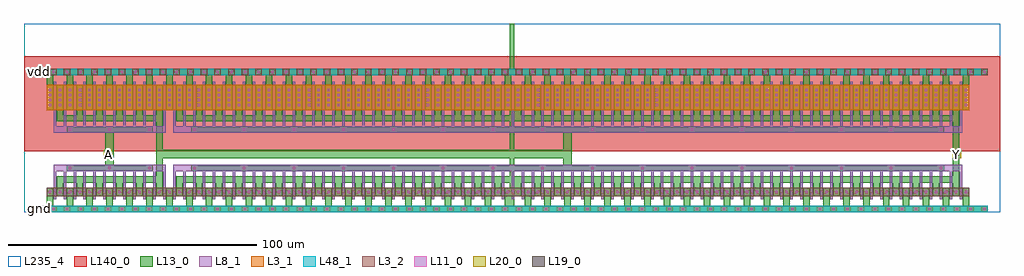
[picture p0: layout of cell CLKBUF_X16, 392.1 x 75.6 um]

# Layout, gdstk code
import gdstk
lib = gdstk.Library(unit=1e-6, precision=1e-09)
def R(c, l, rs):  # rectangles x0, y0, x1, y1
    for r in rs: c.add(gdstk.rectangle(r[:2], r[2:], *l))
def A(c, l, x, y, w, h, nx, ny, dx, dy):  # array of equal rectangles
    R(c, l, [(x+i*dx, y+j*dy, x+i*dx+w, y+j*dy+h) for i in range(nx) for j in range(ny)])
def P(c, l, *ps):  # polygons
    for p in ps: c.add(gdstk.Polygon(p, *l))
L3_1 = (3, 1)
L3_2 = (3, 2)
L8_1 = (8, 1)
L11_0 = (11, 0)
L13_0 = (13, 0)
L19_0 = (19, 0)
L20_0 = (20, 0)
L48_1 = (48, 1)
L140_0 = (140, 0)
L235_4 = (235, 4)

clkbuf_x16 = lib.new_cell('CLKBUF_X16')
A(clkbuf_x16, L3_1, 5, 0, 2.6, 2.6, 70, 1, 5.5, 0)
R(clkbuf_x16, L3_1, [(9.1,41,379.7,51.2)])
A(clkbuf_x16, L3_2, 5, 55, 2.6, 2.6, 70, 1, 5.5, 0)
R(clkbuf_x16, L3_2, [(9.1,6.4,379.7,9.8)])
P(clkbuf_x16, L8_1, [(11.9,5.2),(11.9,19),(56.9,19),(56.9,5.2),(55.9,5.2),(55.9,16.4),(52.9,16.4),(52.9,5.2),(51.9,5.2),(51.9,16.4),(48.9,16.4),(48.9,5.2),(47.9,5.2),(47.9,16.4),(44.9,16.4),(44.9,5.2),(43.9,5.2),(43.9,16.4),(40.9,16.4),(40.9,5.2),(39.9,5.2),(39.9,16.4),(36.9,16.4),(36.9,5.2),(35.9,5.2),(35.9,16.4),(32.9,16.4),(32.9,5.2),(31.9,5.2),(31.9,16.4),(28.9,16.4),(28.9,5.2),(27.9,5.2),(27.9,16.4),(24.9,16.4),(24.9,5.2),(23.9,5.2),(23.9,16.4),(20.9,16.4),(20.9,5.2),(19.9,5.2),(19.9,16.4),(16.9,16.4),(16.9,5.2),(15.9,5.2),(15.9,16.4),(12.9,16.4),(12.9,5.2)],
  [(59.9,5.2),(59.9,19),(376.9,19),(376.9,5.2),(375.9,5.2),(375.9,16.4),(372.9,16.4),(372.9,5.2),(371.9,5.2),(371.9,16.4),(368.9,16.4),(368.9,5.2),(367.9,5.2),(367.9,16.4),(364.9,16.4),(364.9,5.2),(363.9,5.2),(363.9,16.4),(360.9,16.4),(360.9,5.2),(359.9,5.2),(359.9,16.4),(356.9,16.4),(356.9,5.2),(355.9,5.2),(355.9,16.4),(352.9,16.4),(352.9,5.2),(351.9,5.2),(351.9,16.4),(348.9,16.4),(348.9,5.2),(347.9,5.2),(347.9,16.4),(344.9,16.4),(344.9,5.2),(343.9,5.2),(343.9,16.4),(340.9,16.4),(340.9,5.2),(339.9,5.2),(339.9,16.4),(336.9,16.4),(336.9,5.2),(335.9,5.2),(335.9,16.4),(332.9,16.4),(332.9,5.2),(331.9,5.2),(331.9,16.4),(328.9,16.4),(328.9,5.2),(327.9,5.2),(327.9,16.4),(324.9,16.4),(324.9,5.2),(323.9,5.2),(323.9,16.4),(320.9,16.4),(320.9,5.2),(319.9,5.2),(319.9,16.4),(316.9,16.4),(316.9,5.2),(315.9,5.2),(315.9,16.4),(312.9,16.4),(312.9,5.2),(311.9,5.2),(311.9,16.4),(308.9,16.4),(308.9,5.2),(307.9,5.2),(307.9,16.4),(304.9,16.4),(304.9,5.2),(303.9,5.2),(303.9,16.4),(300.9,16.4),(300.9,5.2),(299.9,5.2),(299.9,16.4),(296.9,16.4),(296.9,5.2),(295.9,5.2),(295.9,16.4),(292.9,16.4),(292.9,5.2),(291.9,5.2),(291.9,16.4),(288.9,16.4),(288.9,5.2),(287.9,5.2),(287.9,16.4),(284.9,16.4),(284.9,5.2),(283.9,5.2),(283.9,16.4),(280.9,16.4),(280.9,5.2),(279.9,5.2),(279.9,16.4),(276.9,16.4),(276.9,5.2),(275.9,5.2),(275.9,16.4),(272.9,16.4),(272.9,5.2),(271.9,5.2),(271.9,16.4),(268.9,16.4),(268.9,5.2),(267.9,5.2),(267.9,16.4),(264.9,16.4),(264.9,5.2),(263.9,5.2),(263.9,16.4),(260.9,16.4),(260.9,5.2),(259.9,5.2),(259.9,16.4),(256.9,16.4),(256.9,5.2),(255.9,5.2),(255.9,16.4),(252.9,16.4),(252.9,5.2),(251.9,5.2),(251.9,16.4),(248.9,16.4),(248.9,5.2),(247.9,5.2),(247.9,16.4),(244.9,16.4),(244.9,5.2),(243.9,5.2),(243.9,16.4),(240.9,16.4),(240.9,5.2),(239.9,5.2),(239.9,16.4),(236.9,16.4),(236.9,5.2),(235.9,5.2),(235.9,16.4),(232.9,16.4),(232.9,5.2),(231.9,5.2),(231.9,16.4),(228.9,16.4),(228.9,5.2),(227.9,5.2),(227.9,16.4),(224.9,16.4),(224.9,5.2),(223.9,5.2),(223.9,16.4),(220.9,16.4),(220.9,5.2),(219.9,5.2),(219.9,16.4),(216.9,16.4),(216.9,5.2),(215.9,5.2),(215.9,16.4),(212.9,16.4),(212.9,5.2),(211.9,5.2),(211.9,16.4),(208.9,16.4),(208.9,5.2),(207.9,5.2),(207.9,16.4),(204.9,16.4),(204.9,5.2),(203.9,5.2),(203.9,16.4),(200.9,16.4),(200.9,5.2),(199.9,5.2),(199.9,16.4),(196.9,16.4),(196.9,5.2),(195.9,5.2),(195.9,16.4),(192.9,16.4),(192.9,5.2),(191.9,5.2),(191.9,16.4),(188.9,16.4),(188.9,5.2),(187.9,5.2),(187.9,16.4),(184.9,16.4),(184.9,5.2),(183.9,5.2),(183.9,16.4),(180.9,16.4),(180.9,5.2),(179.9,5.2),(179.9,16.4),(176.9,16.4),(176.9,5.2),(175.9,5.2),(175.9,16.4),(172.9,16.4),(172.9,5.2),(171.9,5.2),(171.9,16.4),(168.9,16.4),(168.9,5.2),(167.9,5.2),(167.9,16.4),(164.9,16.4),(164.9,5.2),(163.9,5.2),(163.9,16.4),(160.9,16.4),(160.9,5.2),(159.9,5.2),(159.9,16.4),(156.9,16.4),(156.9,5.2),(155.9,5.2),(155.9,16.4),(152.9,16.4),(152.9,5.2),(151.9,5.2),(151.9,16.4),(148.9,16.4),(148.9,5.2),(147.9,5.2),(147.9,16.4),(144.9,16.4),(144.9,5.2),(143.9,5.2),(143.9,16.4),(140.9,16.4),(140.9,5.2),(139.9,5.2),(139.9,16.4),(136.9,16.4),(136.9,5.2),(135.9,5.2),(135.9,16.4),(132.9,16.4),(132.9,5.2),(131.9,5.2),(131.9,16.4),(128.9,16.4),(128.9,5.2),(127.9,5.2),(127.9,16.4),(124.9,16.4),(124.9,5.2),(123.9,5.2),(123.9,16.4),(120.9,16.4),(120.9,5.2),(119.9,5.2),(119.9,16.4),(116.9,16.4),(116.9,5.2),(115.9,5.2),(115.9,16.4),(112.9,16.4),(112.9,5.2),(111.9,5.2),(111.9,16.4),(108.9,16.4),(108.9,5.2),(107.9,5.2),(107.9,16.4),(104.9,16.4),(104.9,5.2),(103.9,5.2),(103.9,16.4),(100.9,16.4),(100.9,5.2),(99.9,5.2),(99.9,16.4),(96.9,16.4),(96.9,5.2),(95.9,5.2),(95.9,16.4),(92.9,16.4),(92.9,5.2),(91.9,5.2),(91.9,16.4),(88.9,16.4),(88.9,5.2),(87.9,5.2),(87.9,16.4),(84.9,16.4),(84.9,5.2),(83.9,5.2),(83.9,16.4),(80.9,16.4),(80.9,5.2),(79.9,5.2),(79.9,16.4),(76.9,16.4),(76.9,5.2),(75.9,5.2),(75.9,16.4),(72.9,16.4),(72.9,5.2),(71.9,5.2),(71.9,16.4),(68.9,16.4),(68.9,5.2),(67.9,5.2),(67.9,16.4),(64.9,16.4),(64.9,5.2),(63.9,5.2),(63.9,16.4),(60.9,16.4),(60.9,5.2)],
  [(59.9,31.8),(59.9,52.4),(60.9,52.4),(60.9,34.4),(63.9,34.4),(63.9,52.4),(64.9,52.4),(64.9,34.4),(67.9,34.4),(67.9,52.4),(68.9,52.4),(68.9,34.4),(71.9,34.4),(71.9,52.4),(72.9,52.4),(72.9,34.4),(75.9,34.4),(75.9,52.4),(76.9,52.4),(76.9,34.4),(79.9,34.4),(79.9,52.4),(80.9,52.4),(80.9,34.4),(83.9,34.4),(83.9,52.4),(84.9,52.4),(84.9,34.4),(87.9,34.4),(87.9,52.4),(88.9,52.4),(88.9,34.4),(91.9,34.4),(91.9,52.4),(92.9,52.4),(92.9,34.4),(95.9,34.4),(95.9,52.4),(96.9,52.4),(96.9,34.4),(99.9,34.4),(99.9,52.4),(100.9,52.4),(100.9,34.4),(103.9,34.4),(103.9,52.4),(104.9,52.4),(104.9,34.4),(107.9,34.4),(107.9,52.4),(108.9,52.4),(108.9,34.4),(111.9,34.4),(111.9,52.4),(112.9,52.4),(112.9,34.4),(115.9,34.4),(115.9,52.4),(116.9,52.4),(116.9,34.4),(119.9,34.4),(119.9,52.4),(120.9,52.4),(120.9,34.4),(123.9,34.4),(123.9,52.4),(124.9,52.4),(124.9,34.4),(127.9,34.4),(127.9,52.4),(128.9,52.4),(128.9,34.4),(131.9,34.4),(131.9,52.4),(132.9,52.4),(132.9,34.4),(135.9,34.4),(135.9,52.4),(136.9,52.4),(136.9,34.4),(139.9,34.4),(139.9,52.4),(140.9,52.4),(140.9,34.4),(143.9,34.4),(143.9,52.4),(144.9,52.4),(144.9,34.4),(147.9,34.4),(147.9,52.4),(148.9,52.4),(148.9,34.4),(151.9,34.4),(151.9,52.4),(152.9,52.4),(152.9,34.4),(155.9,34.4),(155.9,52.4),(156.9,52.4),(156.9,34.4),(159.9,34.4),(159.9,52.4),(160.9,52.4),(160.9,34.4),(163.9,34.4),(163.9,52.4),(164.9,52.4),(164.9,34.4),(167.9,34.4),(167.9,52.4),(168.9,52.4),(168.9,34.4),(171.9,34.4),(171.9,52.4),(172.9,52.4),(172.9,34.4),(175.9,34.4),(175.9,52.4),(176.9,52.4),(176.9,34.4),(179.9,34.4),(179.9,52.4),(180.9,52.4),(180.9,34.4),(183.9,34.4),(183.9,52.4),(184.9,52.4),(184.9,34.4),(187.9,34.4),(187.9,52.4),(188.9,52.4),(188.9,34.4),(191.9,34.4),(191.9,52.4),(192.9,52.4),(192.9,34.4),(195.9,34.4),(195.9,52.4),(196.9,52.4),(196.9,34.4),(199.9,34.4),(199.9,52.4),(200.9,52.4),(200.9,34.4),(203.9,34.4),(203.9,52.4),(204.9,52.4),(204.9,34.4),(207.9,34.4),(207.9,52.4),(208.9,52.4),(208.9,34.4),(211.9,34.4),(211.9,52.4),(212.9,52.4),(212.9,34.4),(215.9,34.4),(215.9,52.4),(216.9,52.4),(216.9,34.4),(219.9,34.4),(219.9,52.4),(220.9,52.4),(220.9,34.4),(223.9,34.4),(223.9,52.4),(224.9,52.4),(224.9,34.4),(227.9,34.4),(227.9,52.4),(228.9,52.4),(228.9,34.4),(231.9,34.4),(231.9,52.4),(232.9,52.4),(232.9,34.4),(235.9,34.4),(235.9,52.4),(236.9,52.4),(236.9,34.4),(239.9,34.4),(239.9,52.4),(240.9,52.4),(240.9,34.4),(243.9,34.4),(243.9,52.4),(244.9,52.4),(244.9,34.4),(247.9,34.4),(247.9,52.4),(248.9,52.4),(248.9,34.4),(251.9,34.4),(251.9,52.4),(252.9,52.4),(252.9,34.4),(255.9,34.4),(255.9,52.4),(256.9,52.4),(256.9,34.4),(259.9,34.4),(259.9,52.4),(260.9,52.4),(260.9,34.4),(263.9,34.4),(263.9,52.4),(264.9,52.4),(264.9,34.4),(267.9,34.4),(267.9,52.4),(268.9,52.4),(268.9,34.4),(271.9,34.4),(271.9,52.4),(272.9,52.4),(272.9,34.4),(275.9,34.4),(275.9,52.4),(276.9,52.4),(276.9,34.4),(279.9,34.4),(279.9,52.4),(280.9,52.4),(280.9,34.4),(283.9,34.4),(283.9,52.4),(284.9,52.4),(284.9,34.4),(287.9,34.4),(287.9,52.4),(288.9,52.4),(288.9,34.4),(291.9,34.4),(291.9,52.4),(292.9,52.4),(292.9,34.4),(295.9,34.4),(295.9,52.4),(296.9,52.4),(296.9,34.4),(299.9,34.4),(299.9,52.4),(300.9,52.4),(300.9,34.4),(303.9,34.4),(303.9,52.4),(304.9,52.4),(304.9,34.4),(307.9,34.4),(307.9,52.4),(308.9,52.4),(308.9,34.4),(311.9,34.4),(311.9,52.4),(312.9,52.4),(312.9,34.4),(315.9,34.4),(315.9,52.4),(316.9,52.4),(316.9,34.4),(319.9,34.4),(319.9,52.4),(320.9,52.4),(320.9,34.4),(323.9,34.4),(323.9,52.4),(324.9,52.4),(324.9,34.4),(327.9,34.4),(327.9,52.4),(328.9,52.4),(328.9,34.4),(331.9,34.4),(331.9,52.4),(332.9,52.4),(332.9,34.4),(335.9,34.4),(335.9,52.4),(336.9,52.4),(336.9,34.4),(339.9,34.4),(339.9,52.4),(340.9,52.4),(340.9,34.4),(343.9,34.4),(343.9,52.4),(344.9,52.4),(344.9,34.4),(347.9,34.4),(347.9,52.4),(348.9,52.4),(348.9,34.4),(351.9,34.4),(351.9,52.4),(352.9,52.4),(352.9,34.4),(355.9,34.4),(355.9,52.4),(356.9,52.4),(356.9,34.4),(359.9,34.4),(359.9,52.4),(360.9,52.4),(360.9,34.4),(363.9,34.4),(363.9,52.4),(364.9,52.4),(364.9,34.4),(367.9,34.4),(367.9,52.4),(368.9,52.4),(368.9,34.4),(371.9,34.4),(371.9,52.4),(372.9,52.4),(372.9,34.4),(375.9,34.4),(375.9,52.4),(376.9,52.4),(376.9,31.8)],
  [(11.9,31.8),(11.9,52.4),(12.9,52.4),(12.9,34.4),(15.9,34.4),(15.9,52.4),(16.9,52.4),(16.9,34.4),(19.9,34.4),(19.9,52.4),(20.9,52.4),(20.9,34.4),(23.9,34.4),(23.9,52.4),(24.9,52.4),(24.9,34.4),(27.9,34.4),(27.9,52.4),(28.9,52.4),(28.9,34.4),(31.9,34.4),(31.9,52.4),(32.9,52.4),(32.9,34.4),(35.9,34.4),(35.9,52.4),(36.9,52.4),(36.9,34.4),(39.9,34.4),(39.9,52.4),(40.9,52.4),(40.9,34.4),(43.9,34.4),(43.9,52.4),(44.9,52.4),(44.9,34.4),(47.9,34.4),(47.9,52.4),(48.9,52.4),(48.9,34.4),(51.9,34.4),(51.9,52.4),(52.9,52.4),(52.9,34.4),(55.9,34.4),(55.9,52.4),(56.9,52.4),(56.9,31.8)])
A(clkbuf_x16, L11_0, 5.8, 0.8, 1, 1, 70, 2, 5.5, 55)
A(clkbuf_x16, L11_0, 9.9, 7.6, 1, 1, 13, 2, 4, 35)
A(clkbuf_x16, L11_0, 57.9, 7.6, 1, 1, 81, 2, 4, 35)
A(clkbuf_x16, L11_0, 17.9, 17.2, 1, 1, 3, 2, 16, 15.4)
A(clkbuf_x16, L11_0, 67.9, 17.2, 1, 1, 16, 2, 20, 15.4)
A(clkbuf_x16, L11_0, 57.9, 42.6, 1, 1, 1, 4, 0, 2)
A(clkbuf_x16, L11_0, 377.9, 42.6, 1, 1, 1, 4, 0, 2)
A(clkbuf_x16, L11_0, 9.9, 44.6, 1, 1, 13, 3, 4, 2)
A(clkbuf_x16, L11_0, 57.9, 44.6, 1, 1, 81, 3, 4, 2)
P(clkbuf_x16, L13_0, [(17.1,16.4),(17.1,19),(19.7,19),(19.7,18.7),(32.7,18.7),(32.7,21.6),(32.1,21.6),(32.1,25),(32.7,25),(32.7,32.1),(19.7,32.1),(19.7,31.8),(17.1,31.8),(17.1,34.4),(19.7,34.4),(19.7,34.1),(33.1,34.1),(33.1,34.4),(35.7,34.4),(35.7,34.1),(49.1,34.1),(49.1,34.4),(51.7,34.4),(51.7,31.8),(49.1,31.8),(49.1,32.1),(36.1,32.1),(36.1,18.7),(49.1,18.7),(49.1,19),(51.7,19),(51.7,16.4),(49.1,16.4),(49.1,16.7),(35.7,16.7),(35.7,16.4),(33.1,16.4),(33.1,16.7),(19.7,16.7),(19.7,16.4)],
  [(5,0),(5,2.6),(9.1,2.6),(9.1,9.8),(11.7,9.8),(11.7,2.6),(17.1,2.6),(17.1,9.8),(19.7,9.8),(19.7,2.6),(25.1,2.6),(25.1,9.8),(27.7,9.8),(27.7,2.6),(33.1,2.6),(33.1,9.8),(35.7,9.8),(35.7,2.6),(41.1,2.6),(41.1,9.8),(43.7,9.8),(43.7,2.6),(49.1,2.6),(49.1,9.8),(51.7,9.8),(51.7,2.6),(57.1,2.6),(57.1,9.8),(59.7,9.8),(59.7,2.6),(65.1,2.6),(65.1,9.8),(67.7,9.8),(67.7,2.6),(73.1,2.6),(73.1,9.8),(75.7,9.8),(75.7,2.6),(81.1,2.6),(81.1,9.8),(83.7,9.8),(83.7,2.6),(89.1,2.6),(89.1,9.8),(91.7,9.8),(91.7,2.6),(97.1,2.6),(97.1,9.8),(99.7,9.8),(99.7,2.6),(105.1,2.6),(105.1,9.8),(107.7,9.8),(107.7,2.6),(113.1,2.6),(113.1,9.8),(115.7,9.8),(115.7,2.6),(121.1,2.6),(121.1,9.8),(123.7,9.8),(123.7,2.6),(129.1,2.6),(129.1,9.8),(131.7,9.8),(131.7,2.6),(137.1,2.6),(137.1,9.8),(139.7,9.8),(139.7,2.6),(145.1,2.6),(145.1,9.8),(147.7,9.8),(147.7,2.6),(153.1,2.6),(153.1,9.8),(155.7,9.8),(155.7,2.6),(161.1,2.6),(161.1,9.8),(163.7,9.8),(163.7,2.6),(169.1,2.6),(169.1,9.8),(171.7,9.8),(171.7,2.6),(177.1,2.6),(177.1,9.8),(179.7,9.8),(179.7,2.6),(185.1,2.6),(185.1,9.8),(187.7,9.8),(187.7,2.6),(193.1,2.6),(193.1,9.8),(195.15,9.8),(195.15,11.8),(191.7,11.8),(191.7,6.4),(189.1,6.4),(189.1,11.8),(183.7,11.8),(183.7,6.4),(181.1,6.4),(181.1,11.8),(175.7,11.8),(175.7,6.4),(173.1,6.4),(173.1,11.8),(167.7,11.8),(167.7,6.4),(165.1,6.4),(165.1,11.8),(159.7,11.8),(159.7,6.4),(157.1,6.4),(157.1,11.8),(151.7,11.8),(151.7,6.4),(149.1,6.4),(149.1,11.8),(143.7,11.8),(143.7,6.4),(141.1,6.4),(141.1,11.8),(135.7,11.8),(135.7,6.4),(133.1,6.4),(133.1,11.8),(127.7,11.8),(127.7,6.4),(125.1,6.4),(125.1,11.8),(119.7,11.8),(119.7,6.4),(117.1,6.4),(117.1,11.8),(111.7,11.8),(111.7,6.4),(109.1,6.4),(109.1,11.8),(103.7,11.8),(103.7,6.4),(101.1,6.4),(101.1,11.8),(95.7,11.8),(95.7,6.4),(93.1,6.4),(93.1,11.8),(87.7,11.8),(87.7,6.4),(85.1,6.4),(85.1,11.8),(79.7,11.8),(79.7,6.4),(77.1,6.4),(77.1,11.8),(71.7,11.8),(71.7,6.4),(69.1,6.4),(69.1,11.8),(63.7,11.8),(63.7,6.4),(61.1,6.4),(61.1,14.4),(195.15,14.4),(195.15,16.7),(189.7,16.7),(189.7,16.4),(187.1,16.4),(187.1,16.7),(169.7,16.7),(169.7,16.4),(167.1,16.4),(167.1,16.7),(149.7,16.7),(149.7,16.4),(147.1,16.4),(147.1,16.7),(129.7,16.7),(129.7,16.4),(127.1,16.4),(127.1,16.7),(109.7,16.7),(109.7,16.4),(107.1,16.4),(107.1,16.7),(89.7,16.7),(89.7,16.4),(87.1,16.4),(87.1,16.7),(69.7,16.7),(69.7,16.4),(67.1,16.4),(67.1,19),(69.7,19),(69.7,18.7),(87.1,18.7),(87.1,19),(89.7,19),(89.7,18.7),(107.1,18.7),(107.1,19),(109.7,19),(109.7,18.7),(127.1,18.7),(127.1,19),(129.7,19),(129.7,18.7),(147.1,18.7),(147.1,19),(149.7,19),(149.7,18.7),(167.1,18.7),(167.1,19),(169.7,19),(169.7,18.7),(187.1,18.7),(187.1,19),(189.7,19),(189.7,18.7),(195.15,18.7),(195.15,21.6),(55.7,21.6),(55.7,6.4),(53.1,6.4),(53.1,11.8),(47.7,11.8),(47.7,6.4),(45.1,6.4),(45.1,11.8),(39.7,11.8),(39.7,6.4),(37.1,6.4),(37.1,11.8),(31.7,11.8),(31.7,6.4),(29.1,6.4),(29.1,11.8),(23.7,11.8),(23.7,6.4),(21.1,6.4),(21.1,11.8),(15.7,11.8),(15.7,6.4),(13.1,6.4),(13.1,14.4),(53.1,14.4),(53.1,21.6),(196.95,21.6),(196.95,18.7),(207.1,18.7),(207.1,19),(209.7,19),(209.7,18.7),(216.7,18.7),(216.7,21.6),(53.1,21.6),(53.1,36.4),(13.1,36.4),(13.1,51.2),(15.7,51.2),(15.7,39),(21.1,39),(21.1,51.2),(23.7,51.2),(23.7,39),(29.1,39),(29.1,51.2),(31.7,51.2),(31.7,39),(37.1,39),(37.1,51.2),(39.7,51.2),(39.7,39),(45.1,39),(45.1,51.2),(47.7,51.2),(47.7,39),(53.1,39),(53.1,51.2),(55.7,51.2),(55.7,25),(195.15,25),(195.15,32.1),(189.7,32.1),(189.7,31.8),(187.1,31.8),(187.1,32.1),(169.7,32.1),(169.7,31.8),(167.1,31.8),(167.1,32.1),(149.7,32.1),(149.7,31.8),(147.1,31.8),(147.1,32.1),(129.7,32.1),(129.7,31.8),(127.1,31.8),(127.1,32.1),(109.7,32.1),(109.7,31.8),(107.1,31.8),(107.1,32.1),(89.7,32.1),(89.7,31.8),(87.1,31.8),(87.1,32.1),(69.7,32.1),(69.7,31.8),(67.1,31.8),(67.1,32.1),(209.7,32.1),(209.7,31.8),(207.1,31.8),(207.1,32.1),(196.95,32.1),(196.95,25),(216.7,25),(216.7,32.1),(67.1,32.1),(67.1,34.4),(69.7,34.4),(69.7,34.1),(87.1,34.1),(87.1,34.4),(89.7,34.4),(89.7,34.1),(107.1,34.1),(107.1,34.4),(109.7,34.4),(109.7,34.1),(127.1,34.1),(127.1,34.4),(129.7,34.4),(129.7,34.1),(147.1,34.1),(147.1,34.4),(149.7,34.4),(149.7,34.1),(167.1,34.1),(167.1,34.4),(169.7,34.4),(169.7,34.1),(187.1,34.1),(187.1,34.4),(189.7,34.4),(189.7,34.1),(195.15,34.1),(195.15,36.4),(196.95,36.4),(196.95,34.1),(207.1,34.1),(207.1,34.4),(209.7,34.4),(209.7,34.1),(227.1,34.1),(227.1,34.4),(229.7,34.4),(229.7,34.1),(247.1,34.1),(247.1,34.4),(249.7,34.4),(249.7,34.1),(267.1,34.1),(267.1,34.4),(269.7,34.4),(269.7,34.1),(287.1,34.1),(287.1,34.4),(289.7,34.4),(289.7,34.1),(307.1,34.1),(307.1,34.4),(309.7,34.4),(309.7,34.1),(327.1,34.1),(327.1,34.4),(329.7,34.4),(329.7,34.1),(347.1,34.1),(347.1,34.4),(349.7,34.4),(349.7,34.1),(367.1,34.1),(367.1,34.4),(369.7,34.4),(369.7,31.8),(367.1,31.8),(367.1,32.1),(349.7,32.1),(349.7,31.8),(347.1,31.8),(347.1,32.1),(329.7,32.1),(329.7,31.8),(327.1,31.8),(327.1,32.1),(309.7,32.1),(309.7,31.8),(307.1,31.8),(307.1,32.1),(289.7,32.1),(289.7,31.8),(287.1,31.8),(287.1,32.1),(269.7,32.1),(269.7,31.8),(267.1,31.8),(267.1,32.1),(249.7,32.1),(249.7,31.8),(247.1,31.8),(247.1,32.1),(229.7,32.1),(229.7,31.8),(227.1,31.8),(227.1,32.1),(220.1,32.1),(220.1,18.7),(227.1,18.7),(227.1,19),(229.7,19),(229.7,18.7),(247.1,18.7),(247.1,19),(249.7,19),(249.7,18.7),(267.1,18.7),(267.1,19),(269.7,19),(269.7,18.7),(287.1,18.7),(287.1,19),(289.7,19),(289.7,18.7),(307.1,18.7),(307.1,19),(309.7,19),(309.7,18.7),(327.1,18.7),(327.1,19),(329.7,19),(329.7,18.7),(347.1,18.7),(347.1,19),(349.7,19),(349.7,18.7),(367.1,18.7),(367.1,19),(369.7,19),(369.7,16.4),(367.1,16.4),(367.1,16.7),(349.7,16.7),(349.7,16.4),(347.1,16.4),(347.1,16.7),(329.7,16.7),(329.7,16.4),(327.1,16.4),(327.1,16.7),(309.7,16.7),(309.7,16.4),(307.1,16.4),(307.1,16.7),(289.7,16.7),(289.7,16.4),(287.1,16.4),(287.1,16.7),(269.7,16.7),(269.7,16.4),(267.1,16.4),(267.1,16.7),(249.7,16.7),(249.7,16.4),(247.1,16.4),(247.1,16.7),(229.7,16.7),(229.7,16.4),(227.1,16.4),(227.1,16.7),(209.7,16.7),(209.7,16.4),(207.1,16.4),(207.1,16.7),(196.95,16.7),(196.95,14.4),(373.1,14.4),(373.1,36.4),(61.1,36.4),(61.1,51.2),(63.7,51.2),(63.7,39),(69.1,39),(69.1,51.2),(71.7,51.2),(71.7,39),(77.1,39),(77.1,51.2),(79.7,51.2),(79.7,39),(85.1,39),(85.1,51.2),(87.7,51.2),(87.7,39),(93.1,39),(93.1,51.2),(95.7,51.2),(95.7,39),(101.1,39),(101.1,51.2),(103.7,51.2),(103.7,39),(109.1,39),(109.1,51.2),(111.7,51.2),(111.7,39),(117.1,39),(117.1,51.2),(119.7,51.2),(119.7,39),(125.1,39),(125.1,51.2),(127.7,51.2),(127.7,39),(133.1,39),(133.1,51.2),(135.7,51.2),(135.7,39),(141.1,39),(141.1,51.2),(143.7,51.2),(143.7,39),(149.1,39),(149.1,51.2),(151.7,51.2),(151.7,39),(157.1,39),(157.1,51.2),(159.7,51.2),(159.7,39),(165.1,39),(165.1,51.2),(167.7,51.2),(167.7,39),(173.1,39),(173.1,51.2),(175.7,51.2),(175.7,39),(181.1,39),(181.1,51.2),(183.7,51.2),(183.7,39),(189.1,39),(189.1,51.2),(191.7,51.2),(191.7,39),(195.15,39),(195.15,41),(193.1,41),(193.1,55),(187.7,55),(187.7,41),(185.1,41),(185.1,55),(179.7,55),(179.7,41),(177.1,41),(177.1,55),(171.7,55),(171.7,41),(169.1,41),(169.1,55),(163.7,55),(163.7,41),(161.1,41),(161.1,55),(155.7,55),(155.7,41),(153.1,41),(153.1,55),(147.7,55),(147.7,41),(145.1,41),(145.1,55),(139.7,55),(139.7,41),(137.1,41),(137.1,55),(131.7,55),(131.7,41),(129.1,41),(129.1,55),(123.7,55),(123.7,41),(121.1,41),(121.1,55),(115.7,55),(115.7,41),(113.1,41),(113.1,55),(107.7,55),(107.7,41),(105.1,41),(105.1,55),(99.7,55),(99.7,41),(97.1,41),(97.1,55),(91.7,55),(91.7,41),(89.1,41),(89.1,55),(83.7,55),(83.7,41),(81.1,41),(81.1,55),(75.7,55),(75.7,41),(73.1,41),(73.1,55),(67.7,55),(67.7,41),(65.1,41),(65.1,55),(59.7,55),(59.7,41),(57.1,41),(57.1,55),(51.7,55),(51.7,41),(49.1,41),(49.1,55),(43.7,55),(43.7,41),(41.1,41),(41.1,55),(35.7,55),(35.7,41),(33.1,41),(33.1,55),(27.7,55),(27.7,41),(25.1,41),(25.1,55),(19.7,55),(19.7,41),(17.1,41),(17.1,55),(11.7,55),(11.7,41),(9.1,41),(9.1,55),(5,55),(5,57.6),(195.15,57.6),(195.15,75.6),(196.95,75.6),(196.95,57.6),(387.1,57.6),(387.1,55),(379.7,55),(379.7,41),(377.1,41),(377.1,55),(371.7,55),(371.7,41),(369.1,41),(369.1,55),(363.7,55),(363.7,41),(361.1,41),(361.1,55),(355.7,55),(355.7,41),(353.1,41),(353.1,55),(347.7,55),(347.7,41),(345.1,41),(345.1,55),(339.7,55),(339.7,41),(337.1,41),(337.1,55),(331.7,55),(331.7,41),(329.1,41),(329.1,55),(323.7,55),(323.7,41),(321.1,41),(321.1,55),(315.7,55),(315.7,41),(313.1,41),(313.1,55),(307.7,55),(307.7,41),(305.1,41),(305.1,55),(299.7,55),(299.7,41),(297.1,41),(297.1,55),(291.7,55),(291.7,41),(289.1,41),(289.1,55),(283.7,55),(283.7,41),(281.1,41),(281.1,55),(275.7,55),(275.7,41),(273.1,41),(273.1,55),(267.7,55),(267.7,41),(265.1,41),(265.1,55),(259.7,55),(259.7,41),(257.1,41),(257.1,55),(251.7,55),(251.7,41),(249.1,41),(249.1,55),(243.7,55),(243.7,41),(241.1,41),(241.1,55),(235.7,55),(235.7,41),(233.1,41),(233.1,55),(227.7,55),(227.7,41),(225.1,41),(225.1,55),(219.7,55),(219.7,41),(217.1,41),(217.1,55),(211.7,55),(211.7,41),(209.1,41),(209.1,55),(203.7,55),(203.7,41),(201.1,41),(201.1,55),(195.7,55),(195.7,41),(196.95,41),(196.95,39),(197.1,39),(197.1,51.2),(199.7,51.2),(199.7,39),(205.1,39),(205.1,51.2),(207.7,51.2),(207.7,39),(213.1,39),(213.1,51.2),(215.7,51.2),(215.7,39),(221.1,39),(221.1,51.2),(223.7,51.2),(223.7,39),(229.1,39),(229.1,51.2),(231.7,51.2),(231.7,39),(237.1,39),(237.1,51.2),(239.7,51.2),(239.7,39),(245.1,39),(245.1,51.2),(247.7,51.2),(247.7,39),(253.1,39),(253.1,51.2),(255.7,51.2),(255.7,39),(261.1,39),(261.1,51.2),(263.7,51.2),(263.7,39),(269.1,39),(269.1,51.2),(271.7,51.2),(271.7,39),(277.1,39),(277.1,51.2),(279.7,51.2),(279.7,39),(285.1,39),(285.1,51.2),(287.7,51.2),(287.7,39),(293.1,39),(293.1,51.2),(295.7,51.2),(295.7,39),(301.1,39),(301.1,51.2),(303.7,51.2),(303.7,39),(309.1,39),(309.1,51.2),(311.7,51.2),(311.7,39),(317.1,39),(317.1,51.2),(319.7,51.2),(319.7,39),(325.1,39),(325.1,51.2),(327.7,51.2),(327.7,39),(333.1,39),(333.1,51.2),(335.7,51.2),(335.7,39),(341.1,39),(341.1,51.2),(343.7,51.2),(343.7,39),(349.1,39),(349.1,51.2),(351.7,51.2),(351.7,39),(357.1,39),(357.1,51.2),(359.7,51.2),(359.7,39),(365.1,39),(365.1,51.2),(367.7,51.2),(367.7,39),(373.1,39),(373.1,51.2),(375.7,51.2),(375.7,25),(376.5,25),(376.5,21.6),(375.7,21.6),(375.7,6.4),(373.1,6.4),(373.1,11.8),(367.7,11.8),(367.7,6.4),(365.1,6.4),(365.1,11.8),(359.7,11.8),(359.7,6.4),(357.1,6.4),(357.1,11.8),(351.7,11.8),(351.7,6.4),(349.1,6.4),(349.1,11.8),(343.7,11.8),(343.7,6.4),(341.1,6.4),(341.1,11.8),(335.7,11.8),(335.7,6.4),(333.1,6.4),(333.1,11.8),(327.7,11.8),(327.7,6.4),(325.1,6.4),(325.1,11.8),(319.7,11.8),(319.7,6.4),(317.1,6.4),(317.1,11.8),(311.7,11.8),(311.7,6.4),(309.1,6.4),(309.1,11.8),(303.7,11.8),(303.7,6.4),(301.1,6.4),(301.1,11.8),(295.7,11.8),(295.7,6.4),(293.1,6.4),(293.1,11.8),(287.7,11.8),(287.7,6.4),(285.1,6.4),(285.1,11.8),(279.7,11.8),(279.7,6.4),(277.1,6.4),(277.1,11.8),(271.7,11.8),(271.7,6.4),(269.1,6.4),(269.1,11.8),(263.7,11.8),(263.7,6.4),(261.1,6.4),(261.1,11.8),(255.7,11.8),(255.7,6.4),(253.1,6.4),(253.1,11.8),(247.7,11.8),(247.7,6.4),(245.1,6.4),(245.1,11.8),(239.7,11.8),(239.7,6.4),(237.1,6.4),(237.1,11.8),(231.7,11.8),(231.7,6.4),(229.1,6.4),(229.1,11.8),(223.7,11.8),(223.7,6.4),(221.1,6.4),(221.1,11.8),(215.7,11.8),(215.7,6.4),(213.1,6.4),(213.1,11.8),(207.7,11.8),(207.7,6.4),(205.1,6.4),(205.1,11.8),(199.7,11.8),(199.7,6.4),(197.1,6.4),(197.1,11.8),(196.95,11.8),(196.95,2.6),(201.1,2.6),(201.1,9.8),(203.7,9.8),(203.7,2.6),(209.1,2.6),(209.1,9.8),(211.7,9.8),(211.7,2.6),(217.1,2.6),(217.1,9.8),(219.7,9.8),(219.7,2.6),(225.1,2.6),(225.1,9.8),(227.7,9.8),(227.7,2.6),(233.1,2.6),(233.1,9.8),(235.7,9.8),(235.7,2.6),(241.1,2.6),(241.1,9.8),(243.7,9.8),(243.7,2.6),(249.1,2.6),(249.1,9.8),(251.7,9.8),(251.7,2.6),(257.1,2.6),(257.1,9.8),(259.7,9.8),(259.7,2.6),(265.1,2.6),(265.1,9.8),(267.7,9.8),(267.7,2.6),(273.1,2.6),(273.1,9.8),(275.7,9.8),(275.7,2.6),(281.1,2.6),(281.1,9.8),(283.7,9.8),(283.7,2.6),(289.1,2.6),(289.1,9.8),(291.7,9.8),(291.7,2.6),(297.1,2.6),(297.1,9.8),(299.7,9.8),(299.7,2.6),(305.1,2.6),(305.1,9.8),(307.7,9.8),(307.7,2.6),(313.1,2.6),(313.1,9.8),(315.7,9.8),(315.7,2.6),(321.1,2.6),(321.1,9.8),(323.7,9.8),(323.7,2.6),(329.1,2.6),(329.1,9.8),(331.7,9.8),(331.7,2.6),(337.1,2.6),(337.1,9.8),(339.7,9.8),(339.7,2.6),(345.1,2.6),(345.1,9.8),(347.7,9.8),(347.7,2.6),(353.1,2.6),(353.1,9.8),(355.7,9.8),(355.7,2.6),(361.1,2.6),(361.1,9.8),(363.7,9.8),(363.7,2.6),(369.1,2.6),(369.1,9.8),(371.7,9.8),(371.7,2.6),(377.1,2.6),(377.1,9.8),(379.7,9.8),(379.7,2.6),(387.1,2.6),(387.1,0)])
R(clkbuf_x16, L19_0, [(33.1,22.6,34.5,24), (374.1,22.6,375.5,24)])
R(clkbuf_x16, L20_0, [(32.1,21.6,35.5,25), (373.1,21.6,376.5,25)])
R(clkbuf_x16, L48_1, [(5,0,387.1,2.6), (32.9,22.4,34.7,24.2), (373.9,22.4,375.7,24.2), (5,55,387.1,57.6)])
R(clkbuf_x16, L140_0, [(0,24.5,392.1,62.6)])
R(clkbuf_x16, L235_4, [(0,0,392.1,75.6)])
clkbuf_x16.add(gdstk.Label('A', (33.8,23.3), layer=48, texttype=0))
clkbuf_x16.add(gdstk.Label('Y', (374.8,23.3), layer=48, texttype=0))
clkbuf_x16.add(gdstk.Label('vdd', (6.3,56.3), layer=48, texttype=0))
clkbuf_x16.add(gdstk.Label('gnd', (6.3,1.3), layer=48, texttype=0))
clkbuf_x16.add(gdstk.Label('A', (33.8,23.3), layer=49, texttype=0))
clkbuf_x16.add(gdstk.Label('Y', (374.8,23.3), layer=49, texttype=0))

lib.write_gds('CLKBUF_X16.gds')
